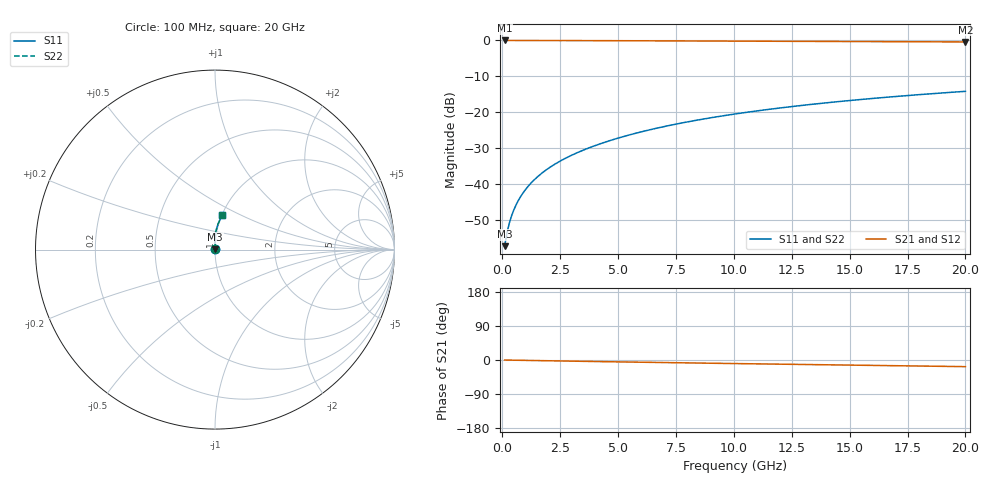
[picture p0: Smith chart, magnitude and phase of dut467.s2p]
! Touchstone file exported from HFSS 2024.1.0
!  File:  C:/UserFiles/LocalFiles/RDL_TSV_Batchsim/temp_RDL_top_467_1779677769.aedt
!  Generated:  10:58:32 AM May 25, 2026
!  Design:  RDL_top
!  Project:  temp_RDL_top_467_1779677769
!  Setup:  Setup1
!  Solution:  Sweep
! Variables:
!  dtsv = 10.80580581um
!  hbump = 3um
!  htsv = 71.76um
!  ldown = 100um
!  lrdl = 203.48um
!  p = 40
!  p1 = 58.86um
!  rhole = 1um
!  t = 450um
!  tdown = 3.915915916um
!  trdl = 3.56um
!  wdown = 15.38538539um
!  wrdl = 26.1um
# GHz S MA R 50.000000
! Terminal data exported
! Port[1] = Box2_T1
! Port[2] = Box2_T2
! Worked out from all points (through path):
!   200 points, 100 MHz to 20 GHz, reference 50 ohm
!   highest |S21| = -0.01 dB at 100 MHz (marker M1); lowest = -0.4 dB at 20 GHz (marker M2)
!   group delay of S21, straight-line fit = 2.4 ps
!   lowest |S11| = -57.4 dB at 100 MHz (marker M3), VSWR 1.00, Z = 50.1 + j0.0889 ohm
!   |S11| at or under -10 dB: start of sweep to end of sweep
!   |S22| runs from -57.4 to -14.2 dB; largest |S21 - S12| = 2.2e-15
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0.1  0.001346 41.2  0.999 -0.1  0.999 -0.1  0.001346 41.2
! Gamma 0 0 0 0
! Port Impedance 50 0 50 0
0.2  0.002039 58.7  0.9989 -0.2  0.9989 -0.2  0.002039 58.7
0.3  0.002794 66.7  0.9988 -0.3  0.9988 -0.3  0.002794 66.7
0.4  0.00356 71.4  0.9988 -0.4  0.9988 -0.4  0.00356 71.4
0.5  0.004332 74.6  0.9987 -0.5  0.9987 -0.5  0.004332 74.6
0.6  0.00511 76.9  0.9986 -0.6  0.9986 -0.6  0.00511 76.9
0.8  0.006684 80.2  0.9985 -0.8  0.9985 -0.8  0.006684 80.2
1.1  0.009083 83.1  0.9983 -1.1  0.9983 -1.1  0.009083 83.1
1.5  0.01234 85.5  0.9979 -1.5  0.9979 -1.5  0.01234 85.5
1.8  0.01481 86.7  0.9975 -1.9  0.9975 -1.9  0.01481 86.7
2.1  0.01732 87.6  0.9971 -2.2  0.9971 -2.2  0.01732 87.6
2.7  0.02244 88.9  0.9961 -2.8  0.9961 -2.8  0.02244 88.9
3.5  0.02948 89.9  0.9945 -3.5  0.9945 -3.5  0.02948 89.9
4.2  0.03584 90.3  0.9929 -4.2  0.9929 -4.2  0.03584 90.3
5  0.04334 90.6  0.9909 -5.0  0.9909 -5.0  0.04334 90.6
5.9  0.05202 90.5  0.9886 -5.8  0.9886 -5.8  0.05202 90.5
6.8  0.06092 90.1  0.9862 -6.6  0.9862 -6.6  0.06092 90.2
8.4  0.07712 89.1  0.982 -8.0  0.982 -8.0  0.07712 89.1
10.1  0.09461 87.7  0.9776 -9.5  0.9776 -9.5  0.09461 87.7
13.4  0.1287 84.5  0.9693 -12.2  0.9693 -12.2  0.1287 84.5
16.7  0.1622 81.2  0.9612 -14.9  0.9612 -14.9  0.1622 81.2
20  0.1948 78.0  0.9528 -17.5  0.9528 -17.5  0.1948 78.0
